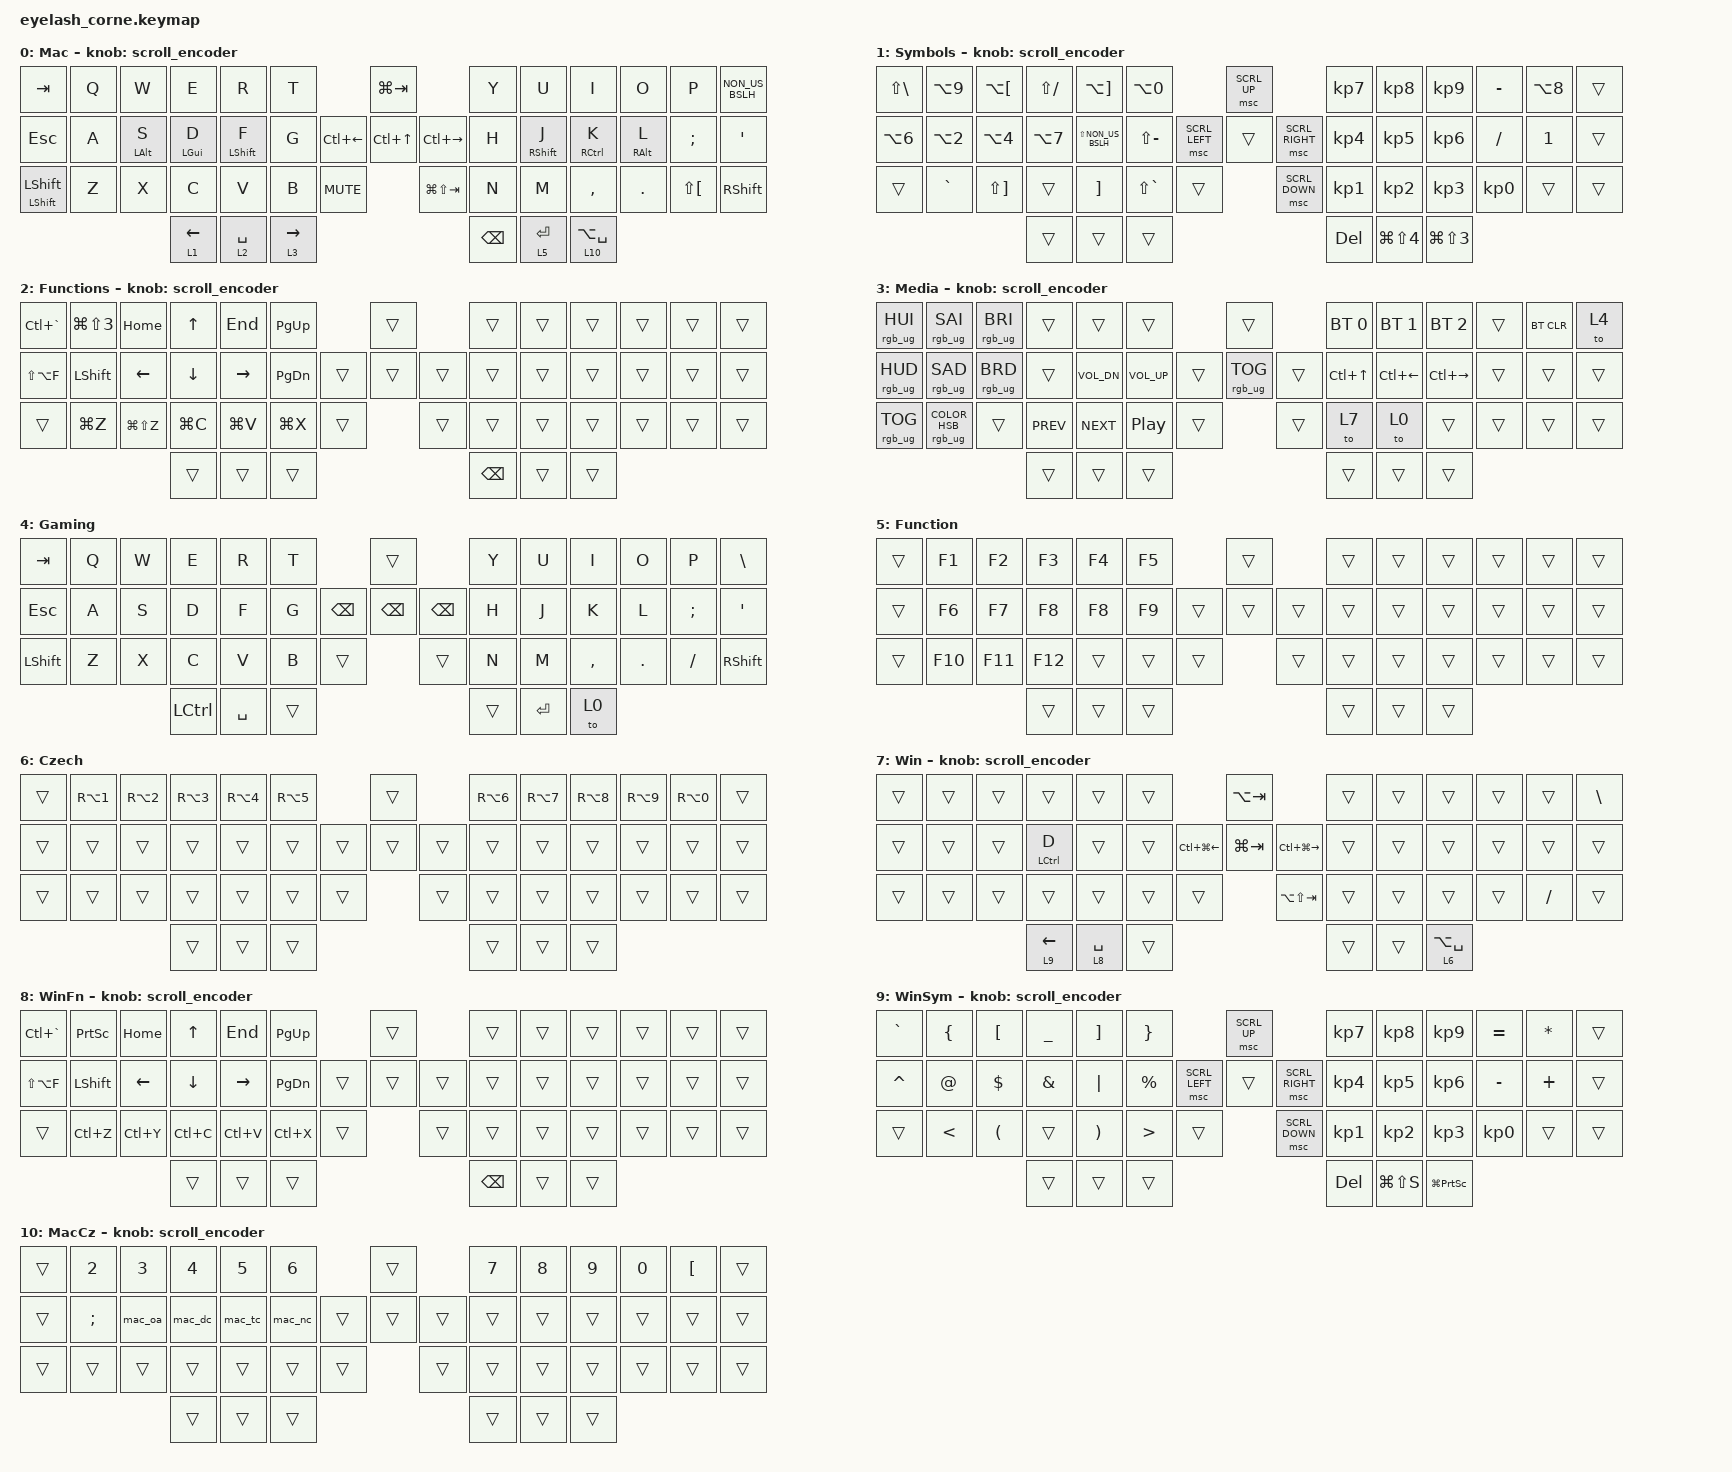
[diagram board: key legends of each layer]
#define ZMK_POINTING_DEFAULT_MOVE_VAL 1200  // 600
#define ZMK_POINTING_DEFAULT_SCRL_VAL 25   // 10

#include <input/processors.dtsi>
#include <zephyr/dt-bindings/input/input-event-codes.h>
#include <behaviors.dtsi>
#include <dt-bindings/zmk/bt.h>
#include <dt-bindings/zmk/keys.h>
#include <dt-bindings/zmk/pointing.h>
#include <dt-bindings/zmk/rgb.h>

#define BASE 0
#define LAYER_1 1
#define LAYER_2 2
#define LAYER_3 3

// -------------------------------------------------------------------------------------------------------------------------------------------------------------------------------------------------------------------------------------------------------------------------------------------------------------------
// Caps Word

&caps_word { continue-list = <UNDERSCORE MINUS LS(SLASH) BACKSPACE>; };

// Layer Tap

&lt {
    quick-tap-ms = <200>;
    tapping-term-ms = <200>;
    flavor = "balanced";   // hold se aktivuje, jen kdyz druhou klavesu stiskneš A pustíš
                           // dokud držíš palec → čísla/zkratky fungují i při rychlém psaní
};

// Sticky key

&sk {
    release-after-ms = <2000>;
    quick-release;

    /delete-property/ ignore-modifiers;
};

// Mouse Movement

&mmv {
    x-input-code = <INPUT_REL_X>;
    y-input-code = <INPUT_REL_Y>;
    time-to-max-speed-ms = <200>;
    acceleration-exponent = <1>;
};

// Mouse Scroll

&msc {
    x-input-code = <INPUT_REL_HWHEEL>;
    y-input-code = <INPUT_REL_WHEEL>;
    time-to-max-speed-ms = <1000>;
    acceleration-exponent = <2>;
};

// -------------------------------------------------------------------------------------------------------------------------------------------------------------------------------------------------------------------------------------------------------------------------------------------------------------------
//tab 0,    q 1,    w 2,   e 3,    r 4,    t 5,    y 7,    u 8,    i 9,    o 10,    p 11,   ' 12
//shift 13, a 14,   s 15,  d 16,   f 17,   g 18,   h 22,   j 23,   k 24,   l 25,   ; 26,   enter 27
//esc 28,   z 29,   x 30,  c 31,   v 32,   b 33,   n 36,   m 37,   , 38,   . 39,   / 40,   shift 40
//                                 42 43 44,           45 46 47

/ {
    combos {
        compatible = "zmk,combos";

        combo_rename {
            timeout-ms = <50>;
            key-positions = <1 2>;
            bindings = <&kp F2>;
        };

        combo_f5 {
            timeout-ms = <50>;
            key-positions = <3 15 17>;
            bindings = <&kp F5>;
            layers = <0 1 3 4 7>;
        };

        combo_we {
            timeout-ms = <30>;
            key-positions = <2 3>;
            bindings = <&kp ESC>;
            layers = <0 1 7>;
        };

        combo_lock {
            timeout-ms = <50>;
            key-positions = <11 12>;
            bindings = <&kp LC(LG(Q))>;   // Mac: zámek (Ctrl+Cmd+Q)
            layers = <0>;
        };

        combo_lock_win {
            timeout-ms = <50>;
            key-positions = <11 12>;
            bindings = <&kp LG(L)>;        // Win: zámek (Win+L)
            layers = <7>;
        };

        combo_sound {
            timeout-ms = <10>;
            key-positions = <14 18>;
            bindings = <&kp LG(A)>;
            layers = <7>;                  // Win action center (na Macu neexistuje)
        };

        combo_m {
            timeout-ms = <25>;
            key-positions = <3 4>;
            bindings = <&kp M>;
            layers = <0 1 7>;
        };

        combo_win_e {
            timeout-ms = <30>;
            key-positions = <3 44>;
            bindings = <&kp LG(E)>;
            layers = <7>;                  // Win Explorer (jen na Win base)
        };

        combo_gaming {
            timeout-ms = <30>;
            key-positions = <0 1>;
            bindings = <&tog 4>;
            layers = <0 1 2 7>;
        };
    };
};

// -------------------------------------------------------------------------------------------------------------------------------------------------------------------------------------------------------------------------------------------------------------------------------------------------------------------

/ {
    macros {
        m_speed1: m_speed1 {
            compatible = "zmk,behavior-macro";
            #binding-cells = <0>;
            wait-ms = <200>;
            tap-ms = <20>;
            bindings =
                <&macro_tap>,
                <&kp LS(R)>,
                <&macro_wait_time 20>,
                <&macro_tap>,
                <&kp KP_N2 &kp KP_N0 &kp KP_N0>,
                <&macro_wait_time 20>,
                <&macro_tap>,
                <&kp ENTER>,
                <&macro_wait_time 20>,
                <&macro_tap>,
                <&kp LS(LC(LA(O)))>,
                <&macro_tap>,
                <&kp LS(LC(LA(O)))>,
                <&macro_tap>,
                <&kp LS(LC(LA(O)))>,
                <&macro_tap>,
                <&kp LS(LC(LA(O)))>,
                <&macro_tap>,
                <&kp LS(LC(LA(O)))>,
                <&macro_tap>,
                <&kp LS(LC(LA(O)))>,
                <&macro_tap>,
                <&kp LS(LC(LA(O)))>,
                <&macro_tap>,
                <&kp LS(LC(LA(O)))>,
                <&macro_tap>,
                <&kp LS(LC(LA(O)))>,
                <&macro_tap>,
                <&kp LS(LC(LA(O)))>,
                <&macro_tap>,
                <&kp LS(LC(LA(O)))>;
        };

        m_speed2: m_speed2 {
            compatible = "zmk,behavior-macro";
            #binding-cells = <0>;
            wait-ms = <200>;
            tap-ms = <20>;
            bindings =
                <&macro_tap>,
                <&kp LS(R)>,
                <&macro_wait_time 20>,
                <&macro_tap>,
                <&kp KP_N4 &kp KP_N0 &kp KP_N0>,
                <&macro_wait_time 20>,
                <&macro_tap>,
                <&kp ENTER>,
                <&macro_wait_time 20>,
                <&macro_tap>,
                <&kp LS(LC(LA(O)))>,
                <&macro_tap>,
                <&kp LS(LC(LA(O)))>,
                <&macro_tap>,
                <&kp LS(LC(LA(O)))>,
                <&macro_tap>,
                <&kp LS(LC(LA(O)))>,
                <&macro_tap>,
                <&kp LS(LC(LA(O)))>,
                <&macro_tap>,
                <&kp LS(LC(LA(O)))>,
                <&macro_tap>,
                <&kp LS(LC(LA(O)))>,
                <&macro_tap>,
                <&kp LS(LC(LA(O)))>,
                <&macro_tap>,
                <&kp LS(LC(LA(O)))>,
                <&macro_tap>,
                <&kp LS(LC(LA(O)))>,
                <&macro_tap>,
                <&kp LS(LC(LA(O)))>;
        };

        m_speed3: m_speed3 {
            compatible = "zmk,behavior-macro";
            #binding-cells = <0>;
            wait-ms = <200>;
            tap-ms = <20>;
            bindings =
                <&macro_tap>,
                <&kp LS(R)>,
                <&macro_wait_time 20>,
                <&macro_tap>,
                <&kp KP_N8 &kp KP_N0 &kp KP_N0>,
                <&macro_wait_time 20>,
                <&macro_tap>,
                <&kp ENTER>,
                <&macro_wait_time 20>,
                <&macro_tap>,
                <&kp LS(LC(LA(O)))>,
                <&macro_tap>,
                <&kp LS(LC(LA(O)))>,
                <&macro_tap>,
                <&kp LS(LC(LA(O)))>,
                <&macro_tap>,
                <&kp LS(LC(LA(O)))>,
                <&macro_tap>,
                <&kp LS(LC(LA(O)))>,
                <&macro_tap>,
                <&kp LS(LC(LA(O)))>,
                <&macro_tap>,
                <&kp LS(LC(LA(O)))>,
                <&macro_tap>,
                <&kp LS(LC(LA(O)))>,
                <&macro_tap>,
                <&kp LS(LC(LA(O)))>,
                <&macro_tap>,
                <&kp LS(LC(LA(O)))>,
                <&macro_tap>,
                <&kp LS(LC(LA(O)))>;
        };

        m_del5: m_del5 {
            compatible = "zmk,behavior-macro";
            #binding-cells = <0>;
            wait-ms = <20>;
            tap-ms = <20>;
            bindings =
                <&macro_tap>,
                <&kp LS(LC(LA(L)))>,
                <&macro_tap>,
                <&kp RIGHT>,
                <&macro_tap>,
                <&kp RIGHT>,
                <&macro_tap>,
                <&kp RIGHT>,
                <&macro_tap>,
                <&kp RIGHT>,
                <&macro_tap>,
                <&kp RIGHT>,
                <&macro_tap>,
                <&kp Q>,
                <&macro_tap>,
                <&kp LEFT>,
                <&macro_tap>,
                <&kp LEFT>,
                <&macro_tap>,
                <&kp LEFT>,
                <&macro_tap>,
                <&kp LEFT>,
                <&macro_tap>,
                <&kp LEFT>,
                <&macro_tap>,
                <&kp LEFT>,
                <&macro_tap>,
                <&kp LEFT>,
                <&macro_tap>,
                <&kp LEFT>,
                <&macro_tap>,
                <&kp LEFT>,
                <&macro_tap>,
                <&kp LEFT>,
                <&macro_tap>,
                <&kp LEFT>,
                <&macro_tap>,
                <&kp LEFT>,
                <&macro_tap>,
                <&kp LEFT>,
                <&macro_tap>,
                <&kp LEFT>,
                <&macro_tap>,
                <&kp LEFT>,
                <&macro_tap>,
                <&kp LEFT>,
                <&macro_tap>,
                <&kp SPACE>;
        };

        m_mute: m_mute {
            compatible = "zmk,behavior-macro";
            #binding-cells = <0>;
            wait-ms = <20>;
            tap-ms = <20>;
            bindings =
                <&macro_tap>,
                <&kp LS(LC(LA(O)))>,
                <&macro_tap>,
                <&kp LS(LC(LA(O)))>,
                <&macro_tap>,
                <&kp LS(LC(LA(O)))>,
                <&macro_tap>,
                <&kp LS(LC(LA(O)))>,
                <&macro_tap>,
                <&kp LS(LC(LA(O)))>,
                <&macro_tap>,
                <&kp LS(LC(LA(O)))>,
                <&macro_tap>,
                <&kp LS(LC(LA(O)))>,
                <&macro_tap>,
                <&kp LS(LC(LA(O)))>,
                <&macro_tap>,
                <&kp LS(LC(LA(O)))>,
                <&macro_tap>,
                <&kp LS(LC(LA(O)))>,
                <&macro_tap>,
                <&kp LS(LC(LA(O)))>;
        };

        caret: caret {
            compatible = "zmk,behavior-macro";
            #binding-cells = <0>;
            wait-ms = <1>;
            tap-ms = <1>;
            bindings =
                <&macro_press>,
                <&kp LALT>,
                <&macro_tap>,
                <&kp KP_N9 &kp KP_N4>,
                <&macro_release>,
                <&kp LALT>;
        };

        backtick: backtick {
            compatible = "zmk,behavior-macro";
            #binding-cells = <0>;
            wait-ms = <1>;
            tap-ms = <1>;
            bindings =
                <&macro_press>,
                <&kp LALT>,
                <&macro_tap>,
                <&kp KP_N0 &kp KP_N9 &kp KP_N6>,
                <&macro_release>,
                <&kp LALT>;
        };

        buildl: buildl {
            compatible = "zmk,behavior-macro";
            #binding-cells = <0>;
            wait-ms = <40>;
            tap-ms = <40>;
            bindings =
                <&macro_tap>,
                <&kp LS(LC(LA(UP)))>,
                <&macro_tap>,
                <&bootloader>;
        };

        buildr: buildr {
            compatible = "zmk,behavior-macro";
            #binding-cells = <0>;
            wait-ms = <100>;
            tap-ms = <100>;
            bindings = <&macro_tap>, <&kp LS(LC(LA(DOWN)))>;
        };

        cstest: cstest {
            compatible = "zmk,behavior-macro";
            #binding-cells = <0>;
            wait-ms = <40>;
            tap-ms = <40>;
            bindings =
                <&macro_tap>,
                <&kp N1>,
                <&macro_tap>,
                <&kp DOT &kp B &kp K &kp K &kp ENTER>,
                <&macro_tap>,
                <&kp DOT &kp F &kp T &kp M &kp ENTER>,
                <&macro_tap>,
                <&kp DOT &kp M &kp P &kp I &kp ENTER>;
        };

        swapp: swapp {
            compatible = "zmk,behavior-macro";
            #binding-cells = <0>;
            wait-ms = <1>;
            tap-ms = <1>;
            bindings =
                <&macro_press>,
                <&kp LALT>,
                <&macro_tap>,
                <&kp TAB>,
                <&macro_release>,
                <&kp LALT>;
        };

        // macOS České rozložení: znaky bez přímého keycodu přes mrtvé klávesy.
        // čárka (´) = EQUAL, háček (ˇ) = LS(EQUAL). POZOR: pozice mrtvých kláves
        // je odhad pro Czech/Czech-QWERTY – po flashnutí ověřit ó ď ť ň.
        mac_oa: mac_oa {           // ó = ´ + o
            compatible = "zmk,behavior-macro";
            #binding-cells = <0>;
            wait-ms = <1>;
            tap-ms = <1>;
            bindings = <&macro_tap>, <&kp EQUAL>, <&kp O>;
        };

        mac_dc: mac_dc {           // ď = ˇ + d
            compatible = "zmk,behavior-macro";
            #binding-cells = <0>;
            wait-ms = <1>;
            tap-ms = <1>;
            bindings = <&macro_tap>, <&kp LS(EQUAL)>, <&kp D>;
        };

        mac_tc: mac_tc {           // ť = ˇ + t
            compatible = "zmk,behavior-macro";
            #binding-cells = <0>;
            wait-ms = <1>;
            tap-ms = <1>;
            bindings = <&macro_tap>, <&kp LS(EQUAL)>, <&kp T>;
        };

        mac_nc: mac_nc {           // ň = ˇ + n
            compatible = "zmk,behavior-macro";
            #binding-cells = <0>;
            wait-ms = <1>;
            tap-ms = <1>;
            bindings = <&macro_tap>, <&kp LS(EQUAL)>, <&kp N>;
        };
    };
};

// -------------------------------------------------------------------------------------------------------------------------------------------------------------------------------------------------------------------------------------------------------------------------------------------------------------------

&mmv_input_listener { input-processors = <&zip_xy_scaler 2 1>; };

&msc_input_listener { input-processors = <&zip_scroll_scaler 2 1>; };

&msc {
    acceleration-exponent = <1>;      // 0
    time-to-max-speed-ms = <100>;       // 300
    delay-ms = <0>;                   // 0
};

&mmv {
    time-to-max-speed-ms = <500>;
    acceleration-exponent = <1>;
    trigger-period-ms = <16>;
};

// -------------------------------------------------------------------------------------------------------------------------------------------------------------------------------------------------------------------------------------------------------------------------------------------------------------------

/ {
    rgb_encoder: rgb_encoder {
        compatible = "zmk,behavior-sensor-rotate";
        #sensor-binding-cells = <0>;
        bindings = <&rgb_ug RGB_BRI>, <&rgb_ug RGB_BRD>;
    };

    scroll_encoder: scroll_encoder {
        compatible = "zmk,behavior-sensor-rotate";
        #sensor-binding-cells = <0>;
        bindings = <&msc SCRL_DOWN>, <&msc SCRL_UP>;

        tap-ms = <100>;
    };

    behaviors {
    };

    behaviors {
    };

    behaviors {
    };

    behaviors {
        lkp: layer_keypress {
            compatible = "zmk,behavior-hold-tap";
            #binding-cells = <2>;
            tapping-term-ms = <200>;    // <---[[moderate duration]]
            quick-tap-ms = <200>;
            require-prior-idle-ms = <125>;
            flavor = "tap-preferred";
            bindings = <&mo>, <&kp>;
        };
    };

    behaviors {
        lshift: lshift_hold_tap {
            compatible = "zmk,behavior-hold-tap";
            #binding-cells = <2>;
            flavor = "balanced";
            tapping-term-ms = <400>;
            quick-tap-ms = <200>;
            bindings = <&kp>, <&sk>;
        };
    };

    behaviors {
    };

    behaviors {
    };

    behaviors {
    };

    behaviors {
    };

    behaviors {
    };

    behaviors {
    };

    behaviors {
        u_exclam: u_exclam {
            compatible = "zmk,behavior-mod-morph";
            #binding-cells = <0>;
            bindings = <&kp SEMI>, <&kp SQT>;

            mods = <(MOD_LSFT|MOD_RSFT)>;
            keep-mods = <(MOD_LSFT)>;
        };
    };

    behaviors {
        hyper_exclam: hyper_exclam {
            compatible = "zmk,behavior-mod-morph";
            #binding-cells = <0>;
            bindings = <&none>, <&kp SQT>;

            mods = <(MOD_LSFT|MOD_RSFT)>;
            keep-mods = <(MOD_LSFT)>;
        };
    };

    behaviors {
        ctrl_z: ctrl_z {
            compatible = "zmk,behavior-mod-morph";
            #binding-cells = <0>;
            bindings = <&kp Z>, <&kp Y>;

            mods = <(MOD_LCTL)>;
            keep-mods = <(MOD_LCTL)>;
        };
    };

    behaviors {
        ctrl_c: ctrl_c {
            compatible = "zmk,behavior-mod-morph";
            #binding-cells = <0>;
            bindings = <&lkp 0 SPACE>, <&kp C>;

            mods = <(MOD_LCTL)>;
            keep-mods = <(MOD_LCTL)>;
        };
    };

    behaviors {
        bspc_del: bspc_del {
            compatible = "zmk,behavior-mod-morph";
            #binding-cells = <0>;
            bindings = <&kp BACKSPACE>, <&kp DEL>;

            mods = <(MOD_LSFT)>;
        };
    };

    //Ctrl V

    behaviors {
        ctrl_v: ctrl_v {
            compatible = "zmk,behavior-mod-morph";
            #binding-cells = <0>;
            bindings = <&none>, <&kp V>;

            mods = <(MOD_LCTL)>;
            keep-mods = <(MOD_LCTL)>;
        };
    };

    behaviors {
        ctrl_x: ctrl_x {
            compatible = "zmk,behavior-mod-morph";
            #binding-cells = <0>;
            bindings = <&sl 0>, <&kp X>;

            mods = <(MOD_LCTL)>;
            keep-mods = <(MOD_LCTL)>;
        };

        hold_tap_custom: hold_tap_custom {
            compatible = "zmk,behavior-hold-tap";
            label = "HOLD_TAP_CUSTOM";
            bindings = <&kp>, <&kp>;

            #binding-cells = <2>;
            tapping-term-ms = <200>;
            flavor = "tap-preferred";
        };
    };

    behaviors {
    };

    behaviors {
    };

    behaviors {
    };

    behaviors {
    };

    behaviors {
    };

    behaviors {
    };

    behaviors {
    };

    behaviors {
    };

    // -------------------------------------------------------------------------------------------------------------------------------------------------------------------------------------------------------------------------------------------------------------------------------------------------------------------

    keymap {
        compatible = "zmk,keymap";

        default_layer {
            display-name = "Mac";
            bindings = <
&kp TAB              &kp Q  &kp W                        &kp E                     &kp R                      &kp T                                      &kp LG(TAB)                     &kp Y          &kp U                      &kp I                     &kp O                         &kp P          &kp NON_US_BSLH
&kp ESC              &kp A  &hold_tap_custom LEFT_ALT S  &hold_tap_custom LGUI D  &hold_tap_custom LSHIFT F  &kp G                      &kp LC(LEFT)      &kp LC(UP)        &kp LC(RIGHT)  &kp H          &hold_tap_custom RSHIFT J  &hold_tap_custom RCTRL K  &hold_tap_custom RIGHT_ALT L  &kp SEMICOLON  &kp SQT
&lshift LSHFT LSHFT  &kp Z  &kp X                        &kp C                     &kp V                      &kp B        &kp C_MUTE                    &kp LG(LS(TAB))                   &kp N          &kp M                      &kp COMMA                 &kp DOT                       &kp LS(LBKT)   &kp RSHFT
                                                         &lt 1 LEFT_ARROW          &lt 2 SPACE                &lt 3 RIGHT                                                                 &kp BACKSPACE  &lt 5 ENTER                &lt 10 LA(SPACE)
            >;

            sensor-bindings = <&scroll_encoder>;
        };

        // -------------------------------------------------------------------------------------------------------------------------------------------------------------------------------------------------------------------------------------------------------------------------------------------------------------------

        symbols {
            display-name = "Symbols";
            bindings = <
&kp LS(BSLH)  &kp LA(N9)     &kp LA(LBKT)          &kp LS(FSLH)   &kp LA(RBKT)           &kp LA(N0)                                 &msc SCRL_UP                     &kp KP_N7     &kp KP_N8     &kp KP_N9           &kp MINUS  &kp LA(N8)    &trans
&kp LA(N6)  &kp LA(N2)     &kp LA(N4)            &kp LA(N7)     &kp LS(NON_US_BSLH)    &kp LS(MINUS)                 &msc SCRL_LEFT  &trans          &msc SCRL_RIGHT  &kp KP_N4     &kp KP_N5     &kp KP_N6     &kp FSLH   &kp N1        &trans
&trans      &kp GRAVE      &kp LS(RBKT)          &trans         &kp RBKT               &kp LS(GRAVE)     &trans                    &msc SCRL_DOWN                   &kp KP_N1     &kp KP_N2     &kp KP_N3        &kp KP_N0     &trans        &trans
                                                 &trans         &trans                 &trans                                                                       &kp DELETE    &kp LG(LS(N4))  &kp LG(LS(N3))
            >;

            sensor-bindings = <&scroll_encoder>;
        };

        // -------------------------------------------------------------------------------------------------------------------------------------------------------------------------------------------------------------------------------------------------------------------------------------------------------------------

        Functions {
            display-name = "Functions";
            bindings = <
&kp LC(GRAVE)  &kp LG(LS(N3))   &kp HOME   &kp UP_ARROW  &kp END    &kp PG_UP                        &trans          &trans         &trans  &trans  &trans  &trans  &trans
&kp LS(LA(F))  &kp LSHIFT       &kp LEFT   &kp DOWN      &kp RIGHT  &kp PAGE_DOWN            &trans  &trans  &trans  &trans         &trans  &trans  &trans  &trans  &trans
&trans         &kp LG(Z)        &kp LG(LS(Z))  &kp LG(C)     &kp LG(V)  &kp LG(X)      &trans            &trans          &trans         &trans  &trans  &trans  &trans  &trans
                                           &trans        &trans     &trans                                           &kp BACKSPACE  &trans  &trans
            >;

            sensor-bindings = <&scroll_encoder>;
        };

        // -------------------------------------------------------------------------------------------------------------------------------------------------------------------------------------------------------------------------------------------------------------------------------------------------------------------

        layer_3 {
            display-name = "Media";
            bindings = <
&rgb_ug RGB_HUI  &rgb_ug RGB_SAI                  &rgb_ug RGB_BRI  &trans      &trans        &trans                              &trans                   &bt BT_SEL 0  &bt BT_SEL 1  &bt BT_SEL 2  &trans  &bt BT_CLR  &to 4
&rgb_ug RGB_HUD  &rgb_ug RGB_SAD                  &rgb_ug RGB_BRD  &trans      &kp C_VOL_DN  &kp C_VOLUME_UP             &trans  &rgb_ug RGB_TOG  &trans  &kp LC(UP) &kp LC(LEFT) &kp LC(RIGHT) &trans &trans      &trans
&rgb_ug RGB_TOG  &rgb_ug RGB_COLOR_HSB(0,100,50)  &trans           &kp C_PREV  &kp C_NEXT    &kp C_PLAY_PAUSE  &trans            &trans                   &to 7         &to 0        &trans        &trans  &trans      &trans
                                                                   &trans      &trans        &trans                                                       &trans        &trans        &trans
            >;

            sensor-bindings = <&scroll_encoder>;
        };

        // -------------------------------------------------------------------------------------------------------------------------------------------------------------------------------------------------------------------------------------------------------------------------------------------------------------------

        Gaming {
            display-name = "Gaming";
            bindings = <
&kp TAB    &kp Q  &kp W  &kp E      &kp R      &kp T                       &trans              &kp Y   &kp U      &kp I      &kp O    &kp P     &kp BSLH
&kp ESC    &kp A  &kp S  &kp D      &kp F      &kp G             &kp BSPC  &kp BSPC  &kp BSPC  &kp H   &kp J      &kp K      &kp L    &kp SEMI  &kp SQT
&kp LSHFT  &kp Z  &kp X  &kp C      &kp V      &kp B   &trans              &trans              &kp N   &kp M      &kp COMMA  &kp DOT  &kp FSLH  &kp RSHFT
                         &kp LCTRL  &kp SPACE  &trans                                          &trans  &kp ENTER  &to 0
            >;
        };

        Function {
            display-name = "Function";
            bindings = <
&trans  &kp F1   &kp F2   &kp F3   &kp F4  &kp F5                    &trans          &trans  &trans  &trans  &trans  &trans  &trans
&trans  &kp F6   &kp F7   &kp F8   &kp F8  &kp F9            &trans  &trans  &trans  &trans  &trans  &trans  &trans  &trans  &trans
&trans  &kp F10  &kp F11  &kp F12  &trans  &trans  &trans            &trans          &trans  &trans  &trans  &trans  &trans  &trans
                          &trans   &trans  &trans                                    &trans  &trans  &trans
            >;
        };

        CZECH {
            display-name = "Czech";
            bindings = <
&trans  &kp RA(NUMBER_1)  &kp RA(NUMBER_2)  &kp RA(N3)  &kp RA(N4)  &kp RA(N5)                    &trans          &kp RA(N6)  &kp RA(N7)  &kp RA(N8)  &kp RA(N9)  &kp RA(N0)  &trans
&trans  &trans            &trans            &trans      &trans      &trans                &trans  &trans  &trans  &trans      &trans      &trans      &trans      &trans      &trans
&trans  &trans            &trans            &trans      &trans      &trans      &trans            &trans          &trans      &trans      &trans      &trans      &trans      &trans
                                            &trans      &trans      &trans                                        &trans      &trans      &trans
            >;
        };

        // -------------------------------------------------------------------------------------------------------------------------------------------------------------------------------------------------------------------------------------------------------------------------------------------------------------------

        WIN {
            display-name = "Win";
            // Transparentní vrstva nad vždy-aktivním Mac base (layer 0).
            // Override jen klávesy, které se na Win liší; zbytek &trans, aby
            // propadl na Mac base (písmena) nebo na drženou feature vrstvu.
            bindings = <
&trans  &trans  &trans  &trans                    &trans  &trans                            &kp LA(TAB)                  &trans  &trans  &trans  &trans  &trans  &kp BSLH
&trans  &trans  &trans  &hold_tap_custom LCTRL D  &trans  &trans          &kp LC(LG(LEFT))  &kp LG(TAB)  &kp LC(LG(RIGHT))  &trans  &trans  &trans  &trans  &trans  &trans
&trans  &trans  &trans  &trans                    &trans  &trans  &trans                    &kp LA(LS(TAB))              &trans  &trans  &trans  &trans  &kp FSLH  &trans
                                                  &lt 9 LEFT_ARROW        &lt 8 SPACE       &trans                       &trans  &trans  &lt 6 LA(SPACE)
            >;

            sensor-bindings = <&scroll_encoder>;
        };

        // -------------------------------------------------------------------------------------------------------------------------------------------------------------------------------------------------------------------------------------------------------------------------------------------------------------------

        WinFn {
            display-name = "WinFn";
            // Win varianta Functions: clipboard/undo přes Ctrl (na Win base
            // ji volá prostřední levý palec přes &lt 8).
            bindings = <
&kp LC(GRAVE)  &kp PRINTSCREEN  &kp HOME   &kp UP_ARROW  &kp END    &kp PG_UP                        &trans          &trans         &trans  &trans  &trans  &trans  &trans
&kp LS(LA(F))  &kp LSHIFT       &kp LEFT   &kp DOWN      &kp RIGHT  &kp PAGE_DOWN            &trans  &trans  &trans  &trans         &trans  &trans  &trans  &trans  &trans
&trans         &kp LC(Z)        &kp LC(Y)  &kp LC(C)     &kp LC(V)  &kp LC(X)      &trans            &trans          &trans         &trans  &trans  &trans  &trans  &trans
                                           &trans        &trans     &trans                                           &kp BACKSPACE  &trans  &trans
            >;

            sensor-bindings = <&scroll_encoder>;
        };

        // -------------------------------------------------------------------------------------------------------------------------------------------------------------------------------------------------------------------------------------------------------------------------------------------------------------------

        WinSym {
            display-name = "WinSym";
            // Win varianta Symbols: shodná s Mac Symbols, jen pravý palec (pos 47)
            // dělá Win screenshot výběru (Win+Shift+S) místo Mac Cmd+Shift+4.
            // Na Win base ji volá levý palec (levá pozice) přes &lt 9.
            bindings = <
&kp GRAVE  &kp LEFT_BRACE  &kp LEFT_BRACKET      &kp UNDER      &kp RIGHT_BRACKET      &kp RIGHT_BRACE                             &msc SCRL_UP                     &kp KP_N7     &kp KP_N8     &kp KP_N9           &kp EQUAL  &kp ASTERISK  &trans
&kp CARET  &kp AT_SIGN     &kp DOLLAR            &kp AMPERSAND  &kp PIPE               &kp PERCENT                 &msc SCRL_LEFT  &trans          &msc SCRL_RIGHT  &kp KP_N4     &kp KP_N5     &kp KP_N6     &kp MINUS  &kp PLUS      &trans
&trans     &kp LESS_THAN   &kp LEFT_PARENTHESIS  &trans         &kp RIGHT_PARENTHESIS  &kp GREATER_THAN  &trans                    &msc SCRL_DOWN                   &kp KP_N1     &kp KP_N2     &kp KP_N3        &kp KP_N0     &trans        &trans
                                                 &trans         &trans                 &trans                                                                       &kp DELETE    &kp LG(LS(S))   &kp LG(PRINTSCREEN)
            >;

            sensor-bindings = <&scroll_encoder>;
        };

        // -------------------------------------------------------------------------------------------------------------------------------------------------------------------------------------------------------------------------------------------------------------------------------------------------------------------

        MacCzech {
            display-name = "MacCz";
            // macOS varianta diakritiky (paralela k CZECH/RA pro Win).
            // Na Mac base ji volá pravý palec vpravo přes &lt 10.
            //
            // VYŽADUJE: macOS Input Source = "Czech - QWERTY". Pak tyto keycody
            // padají rovnou na české znaky (na US layoutu by N2 dalo "2"):
            //   ě=N2 š=N3 č=N4 ř=N5 ž=N6 ý=N7 á=N8 í=N9 é=N0 ú=[ ů=;
            // ó ď ť ň přes mrtvé klávesy: ´=EQUAL, ˇ=LS(EQUAL) (viz makra mac_*).
            // Pozn.: pokrývá jen malá písmena; velká (Ě Š …) zatím ne.
            bindings = <
&trans  &kp N2     &kp N3     &kp N4     &kp N5     &kp N6                     &trans          &kp N7  &kp N8  &kp N9  &kp N0  &kp LBKT  &trans
&trans  &kp SEMI   &mac_oa    &mac_dc    &mac_tc    &mac_nc            &trans  &trans  &trans  &trans  &trans  &trans  &trans  &trans    &trans
&trans  &trans     &trans     &trans     &trans     &trans     &trans          &trans          &trans  &trans  &trans  &trans  &trans    &trans
                              &trans     &trans     &trans                                     &trans  &trans  &trans
            >;

            sensor-bindings = <&scroll_encoder>;
        };

        // -------------------------------------------------------------------------------------------------------------------------------------------------------------------------------------------------------------------------------------------------------------------------------------------------------------------
    };
};
